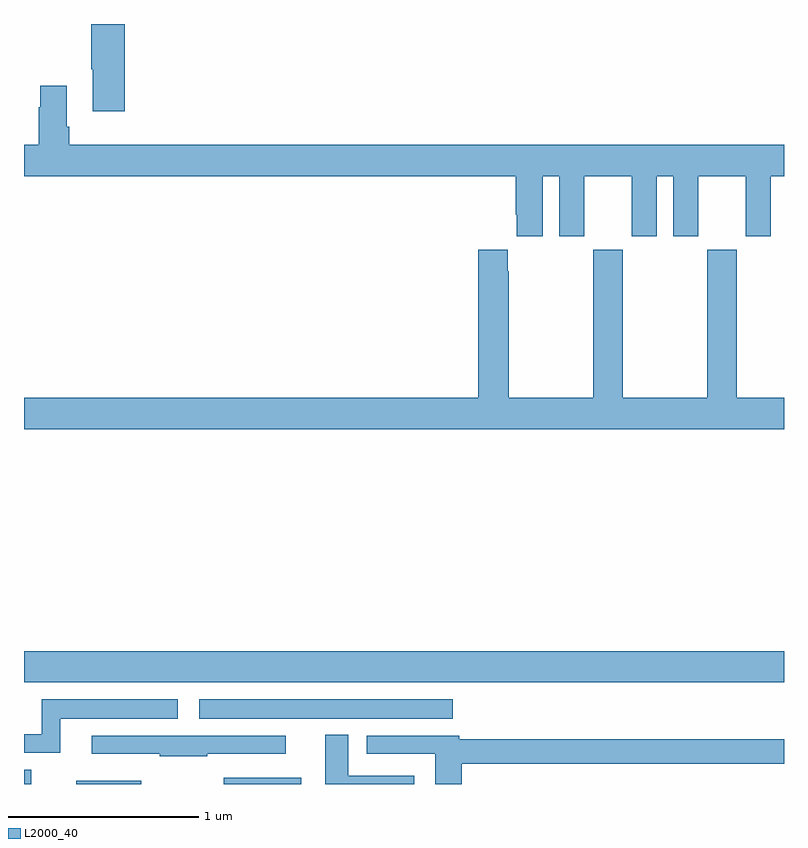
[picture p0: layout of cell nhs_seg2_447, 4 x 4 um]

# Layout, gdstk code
import gdstk
lib = gdstk.Library(unit=1e-6, precision=1e-09)
def R(c, l, rs):  # rectangles x0, y0, x1, y1
    for r in rs: c.add(gdstk.rectangle(r[:2], r[2:], *l))
def P(c, l, *ps):  # polygons
    for p in ps: c.add(gdstk.Polygon(p, *l))
L2000_40 = (2000, 40)

nhs_seg2_447 = lib.new_cell('nhs_seg2_447')
R(nhs_seg2_447, L2000_40, [(133,613.8,133.039,613.876), (133.275,613.8,133.618,613.816), (134.052,613.8,134.458,613.834), (133.923,614.144,135.256,614.245), (133,614.336,137,614.5)])
P(nhs_seg2_447, L2000_40, [(133.529,617.8),(133.354,617.8),(133.354,617.563),(133.361,617.563),(133.361,617.34),(133.529,617.34)],
  [(135.73,617),(135.818,617),(135.818,616.683),(135.949,616.683),(135.949,617),(136.199,617),(136.199,616.683),(136.33,616.683),(136.33,617),(136.418,617),(136.418,616.683),(136.549,616.683),(136.549,617),(136.799,617),(136.799,616.683),(136.93,616.683),(136.93,617),(137,617),(137,617.164),(133.238,617.164),(133.238,617.26),(133.225,617.26),(133.225,617.476),(133.085,617.476),(133.085,617.363),(133.078,617.363),(133.078,617.164),(133,617.164),(133,617),(135.587,617),(135.587,616.795),(135.593,616.795),(135.593,616.683),(135.73,616.683)],
  [(137,615.832),(136.752,615.832),(136.752,616.612),(136.597,616.612),(136.597,615.832),(136.152,615.832),(136.152,616.612),(135.997,616.612),(135.997,615.832),(135.552,615.832),(135.552,616.499),(135.547,616.499),(135.547,616.612),(135.392,616.612),(135.392,615.832),(133,615.832),(133,615.668),(137,615.668)],
  [(133.192,614.144),(133.81,614.144),(133.81,614.245),(133.094,614.245),(133.094,614.061),(133,614.061),(133,613.965),(133.192,613.965)],
  [(135.055,613.843),(134.707,613.843),(134.707,614.059),(134.585,614.059),(134.585,613.8),(135.055,613.8)],
  [(133.964,613.959),(134.377,613.959),(134.377,614.055),(133.356,614.055),(133.356,613.958),(133.714,613.958),(133.714,613.947),(133.964,613.947)],
  [(135.305,613.906),(137,613.906),(137,614.035),(135.292,614.035),(135.292,614.055),(134.805,614.055),(134.805,613.959),(135.165,613.959),(135.165,613.8),(135.305,613.8)])

lib.write_gds('nhs_seg2_447.gds')
